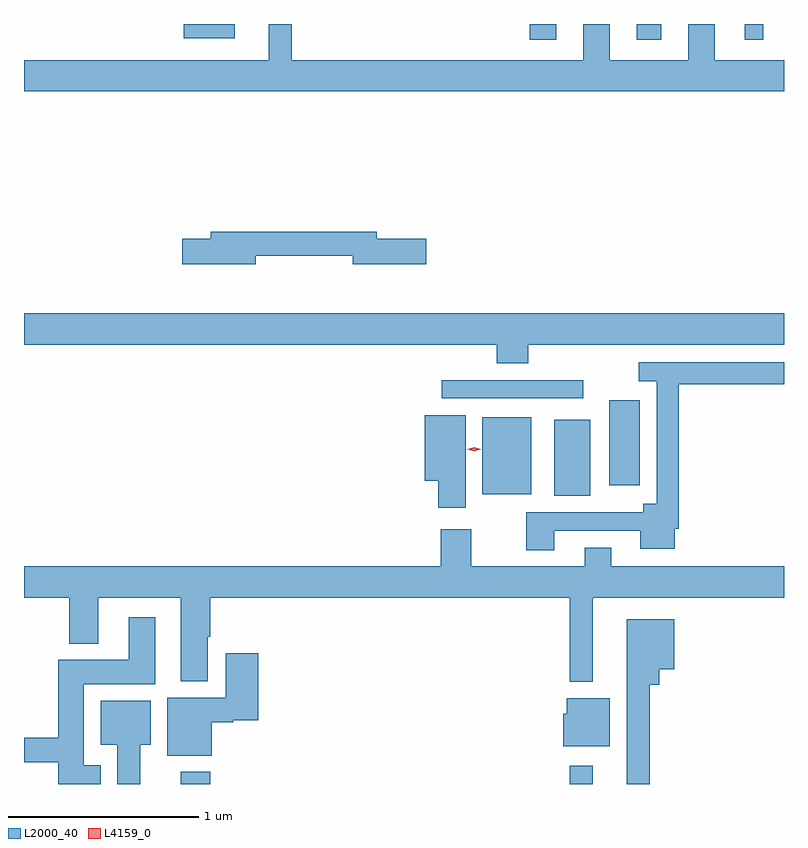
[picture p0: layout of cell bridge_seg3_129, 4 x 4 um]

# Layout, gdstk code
import gdstk
lib = gdstk.Library(unit=1e-6, precision=1e-09)
def R(c, l, rs):  # rectangles x0, y0, x1, y1
    for r in rs: c.add(gdstk.rectangle(r[:2], r[2:], *l))
def P(c, l, *ps):  # polygons
    for p in ps: c.add(gdstk.Polygon(p, *l))
L2000_40 = (2000, 40)
L4159_0 = (4159, 0)

bridge_seg3_129 = lib.new_cell('bridge_seg3_129')
R(bridge_seg3_129, L2000_40, [(364.019,678.623,364.172,678.688), (366.066,678.623,366.187,678.718), (365.984,680.141,366.172,680.539), (365.606,680.147,365.863,680.554), (366.272,680.196,366.433,680.644), (365.391,680.652,366.136,680.748), (365.855,682.539,365.995,682.623), (366.419,682.539,366.547,682.623), (366.986,682.539,367.084,682.623), (364.034,682.547,364.303,682.623)])
P(bridge_seg3_129, L2000_40, [(367.193,682.432),(366.829,682.432),(366.829,682.623),(366.689,682.623),(366.689,682.432),(366.277,682.432),(366.277,682.623),(366.137,682.623),(366.137,682.432),(364.603,682.432),(364.603,682.623),(364.481,682.623),(364.481,682.432),(363.193,682.432),(363.193,682.268),(367.193,682.268)],
  [(364.414,681.402),(364.922,681.402),(364.922,681.359),(365.311,681.359),(365.311,681.494),(365.05,681.494),(365.05,681.53),(364.175,681.53),(364.175,681.494),(364.026,681.494),(364.026,681.359),(364.414,681.359)],
  [(365.846,680.936),(367.193,680.936),(367.193,681.1),(363.193,681.1),(363.193,680.936),(365.681,680.936),(365.681,680.837),(365.846,680.837)],
  [(365.983,679.956),(366.437,679.956),(366.437,679.862),(366.619,679.862),(366.619,679.966),(366.638,679.966),(366.638,680.728),(367.193,680.728),(367.193,680.844),(366.429,680.844),(366.429,680.744),(366.522,680.744),(366.522,680.098),(366.452,680.098),(366.452,680.052),(365.836,680.052),(365.836,679.854),(365.983,679.854)],
  [(365.518,680.563),(365.303,680.563),(365.303,680.219),(365.372,680.219),(365.372,680.076),(365.518,680.076)],
  [(366.187,679.604),(367.193,679.604),(367.193,679.768),(366.283,679.768),(366.283,679.867),(366.143,679.867),(366.143,679.768),(365.547,679.768),(365.547,679.963),(365.387,679.963),(365.387,679.768),(363.193,679.768),(363.193,679.604),(363.431,679.604),(363.431,679.361),(363.583,679.361),(363.583,679.604),(364.019,679.604),(364.019,679.163),(364.159,679.163),(364.159,679.399),(364.172,679.399),(364.172,679.604),(366.066,679.604),(366.066,679.16),(366.187,679.16)],
  [(363.598,678.721),(363.508,678.721),(363.508,679.148),(363.883,679.148),(363.883,679.501),(363.743,679.501),(363.743,679.276),(363.374,679.276),(363.374,678.866),(363.193,678.866),(363.193,678.738),(363.374,678.738),(363.374,678.623),(363.598,678.623)],
  [(366.487,679.145),(366.536,679.145),(366.536,679.226),(366.616,679.226),(366.616,679.489),(366.365,679.489),(366.365,678.623),(366.487,678.623)],
  [(364.18,678.947),(364.293,678.947),(364.293,678.959),(364.427,678.959),(364.427,679.312),(364.256,679.312),(364.256,679.078),(363.947,679.078),(363.947,678.773),(364.18,678.773)],
  [(366.277,679.075),(366.05,679.075),(366.05,678.993),(366.032,678.993),(366.032,678.821),(366.277,678.821)],
  [(363.805,678.83),(363.859,678.83),(363.859,679.06),(363.596,679.06),(363.596,678.83),(363.683,678.83),(363.683,678.623),(363.805,678.623)])
P(bridge_seg3_129, L4159_0, [(365.562,680.375),(365.526,680.385),(365.526,680.386),(365.526,680.386),(365.562,680.395),(365.598,680.385),(365.598,680.385),(365.598,680.385)])

lib.write_gds('bridge_seg3_129.gds')
